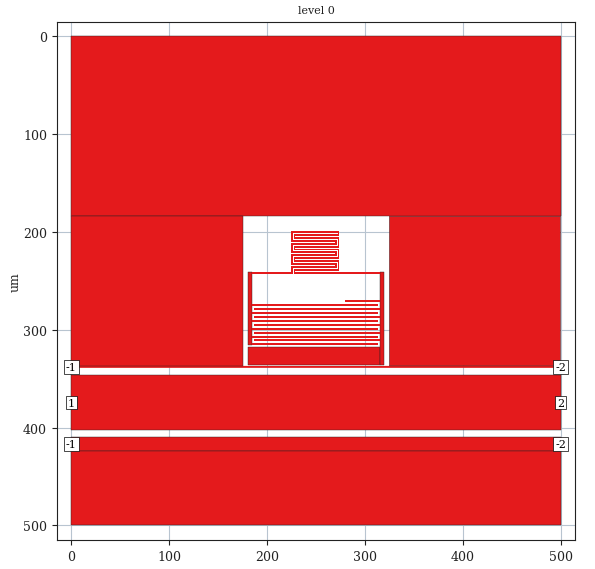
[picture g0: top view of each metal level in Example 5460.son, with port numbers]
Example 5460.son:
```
FTYP SONPROJ 15 ! Sonnet Project File
VER 16.52
HEADER
LIC dias60.1.44860 382c4a80b44d DESKTOP-VO1CH6G mario
DAT 03/21/2018 13:03:07
BUILT_BY_CREATED xgeom 13.52 04/05/2012 11:22:39
BUILT_BY_SAVED xgeom 16.52.1
MDATE 03/21/2018 12:58:39
HDATE 03/21/2018 12:57:15
END HEADER
DIM
FREQ GHZ
IND NH
LNG UM
ANG DEG
CON /OH
CAP PF
RES OH
END DIM
FREQ
SIMPLE 3.3644
ABS 5.459 5.461 
END FREQ
CONTROL
ABS
OPTIONS  -dj 
SPEED 2
CACHE_ABS 1
TARG_ABS 2000
Q_ACC Y
END CONTROL
GEO
TMET "Lossless" 0 SUP 0 0 0 0
BMET "Lossless" 0 SUP 0 0 0 0
MET "superconductor" 1 SUP 0 0 0 20
MET "Nb" 2 SUP 0 0 0 0.07
MET "thick Ta" 3 SUP 0 0 0 0.001
BOX 1 500 500 1000 1000 20 0
      200 1 1 0 0 0 0 "Unnamed"
      450 11.8 1 0 0 0 0 "Unnamed"
LORGN 0 500 U 
POR1 STD
POLY 12 1
3
1 50 0 0 0 1.116358908e-005 374.4999989 
POR1 STD
POLY 12 1
1
2 50 0 0 0 500.0000345 374.4999975 
POR1 STD
POLY 15 1
1
-2 50 0 0 0 499.9999636 417.000015 
POR1 STD
POLY 15 1
3
-1 50 0 0 0 -8.152564988e-007 417.0000161 
POR1 STD
POLY 19 1
1
-2 50 0 0 0 499.9999509 338.0000875 
POR1 STD
POLY 19 1
3
-1 50 0 0 0 -2.868846059e-005 337.9998969 
NUM 58
0 5 0 N 12 1 1 100 100 0 0 0 Y
1.115479972e-005 345.999978
500.0000345 345.9999768
500.0000345 403.0000183
1.117237844e-005 403.0000197
1.115479972e-005 345.999978
END
0 5 0 N 15 1 1 100 100 0 0 0 Y
-8.152564988e-007 410.0000121
499.9999636 410.0000111
499.9999636 424.0000188
-8.152564988e-007 424.0000202
-8.152564988e-007 410.0000121
END
0 5 0 N 18 1 1 100 100 0 0 0 Y
4.608694653e-006 424.0000181
500.0000085 424.0000171
500.0000085 499.9999898
4.608694653e-006 499.9999913
4.608694653e-006 424.0000181
END
0 5 0 N 19 1 1 100 100 0 0 0 Y
-2.868846059e-005 337.0000274
499.9999509 336.9999651
499.9999509 339.0002098
-2.868846059e-005 338.9997663
-2.868846059e-005 337.0000274
END
0 5 0 N 22 1 1 100 100 0 0 0 Y
-1.650184243e-005 4.362391337e-006
500.0000001 4.362391337e-006
500.0000001 184.0000077
-1.650184243e-005 184.0000077
-1.650184243e-005 4.362391337e-006
END
0 5 0 N 23 1 1 100 100 0 0 0 Y
-1.203088515e-005 184
175.0000064 184
175.0000064 337.0000065
-1.203088515e-005 337.0000065
-1.203088515e-005 184
END
0 5 0 N 24 1 1 100 100 0 0 0 Y
325.0000048 183.9999562
500.000029 184.000061
500.0000288 337
325.0000046 336.9999797
325.0000048 183.9999562
END
0 5 0 N 25 1 1 100 100 0 0 0 Y
180.0000163 241.0000318
184.9999788 241.0000318
184.9999788 316
180.0000163 316
180.0000163 241.0000318
END
0 5 0 N 26 1 1 100 100 0 0 0 Y
179.9999972 336.0000378
315.0000673 336.0000378
315.0000673 317.999995
179.9999972 317.999995
179.9999972 336.0000378
END
0 5 0 N 27 1 1 100 100 0 0 0 Y
314.9999689 241.0000318
320.0000272 241.0000318
320.0000272 335.9999892
314.9999689 335.9999892
314.9999689 241.0000318
END
0 5 0 N 28 1 1 100 100 0 0 0 Y
187.0000232 288.0000378
314.9999977 288.0000378
314.9999977 286.0000131
187.0000232 286.0000131
187.0000232 288.0000378
END
0 5 0 N 29 1 1 100 100 0 0 0 Y
184.9999908 284.0000378
312.999994 284.0000378
312.999994 282.0000131
184.9999908 282.0000131
184.9999908 284.0000378
END
0 5 0 N 30 1 1 100 100 0 0 0 Y
185.0000232 308.0000378
312.9999977 308.0000378
312.9999977 306.0000131
185.0000232 306.0000131
185.0000232 308.0000378
END
0 5 0 N 31 1 1 100 100 0 0 0 Y
185.0000232 316.0000378
312.9999977 316.0000378
312.9999977 314.0000131
185.0000232 314.0000131
185.0000232 316.0000378
END
0 5 0 N 32 1 1 100 100 0 0 0 Y
186.9999908 312.0000378
315.0000673 312.0000378
315.0000673 310.0000131
186.9999908 310.0000131
186.9999908 312.0000378
END
0 5 0 N 33 1 1 100 100 0 0 0 Y
184.9999708 241.0000318
226.0000001 241.0000318
226.0000001 242.999995
184.9999708 242.999995
184.9999708 241.0000318
END
0 5 0 N 34 1 1 100 100 0 0 0 Y
227.0000477 241
314.9999949 241
314.9999949 242.999995
227.0000477 242.999995
227.0000477 241
END
0 5 0 N 35 1 1 100 100 0 0 0 Y
186.9999908 304.0000378
314.9999504 304.0000378
314.9999504 302.0000131
186.9999908 302.0000131
186.9999908 304.0000378
END
0 5 0 N 36 1 1 100 100 0 0 0 Y
185.0000232 300.0000378
312.9999977 300.0000378
312.9999977 298.0000131
185.0000232 298.0000131
185.0000232 300.0000378
END
0 5 0 N 37 1 1 100 100 0 0 0 Y
186.9999908 296.0000378
314.9999504 296.0000378
314.9999504 294.0000131
186.9999908 294.0000131
186.9999908 296.0000378
END
0 5 0 N 38 1 1 100 100 0 0 0 Y
185.0000232 292.0000378
313.0000175 292.0000378
313.0000175 290.0000131
185.0000232 290.0000131
185.0000232 292.0000378
END
0 5 0 N 39 1 1 100 100 0 0 0 Y
224 238
226 238
226 241.0000318
224 241.0000318
224 238
END
0 5 0 N 40 1 1 100 100 0 0 0 Y
227.0000477 240
229 240
229 241
227.0000477 241
227.0000477 240
END
0 5 0 N 41 1 1 100 100 0 0 0 Y
227.0000477 238
229 238
229 240
227.0000477 240
227.0000477 238
END
0 5 0 N 42 1 1 100 100 0 0 0 Y
229 238
274.0000173 238
274.0000173 240
229 240
229 238
END
0 5 0 N 43 1 1 100 100 0 0 0 Y
224 235
226 235
226 238
224 238
224 235
END
0 5 0 N 44 1 1 100 100 0 0 0 Y
226 235
271 235
271 237
226 237
226 235
END
0 5 0 N 45 1 1 100 100 0 0 0 Y
272 232
274.0000173 232
274.0000173 238
272 238
272 232
END
0 5 0 N 46 1 1 100 100 0 0 0 Y
269 231.9999908
271 231.9999908
271 235
269 235
269 231.9999908
END
0 5 0 N 47 1 1 100 100 0 0 0 Y
228 231.9999908
269 231.9999908
269 233.9999995
228 233.9999995
228 231.9999908
END
0 5 0 N 48 1 1 100 100 0 0 0 Y
272 228.9999979
274.0000173 228.9999979
274.0000173 232
272 232
272 228.9999979
END
0 5 0 N 49 1 1 100 100 0 0 0 Y
224.0000075 231.9999908
228 231.9999908
228 233.9999995
224.0000075 233.9999995
224.0000075 231.9999908
END
0 5 0 N 50 1 1 100 100 0 0 0 Y
226.9999598 228.9999979
272 228.9999979
272 231.0000066
226.9999598 231.0000066
226.9999598 228.9999979
END
0 5 0 N 51 1 1 100 100 0 0 0 Y
224.0000075 222.999992
226 222.999992
226 231.9999908
224.0000075 231.9999908
224.0000075 222.999992
END
0 5 0 N 52 1 1 100 100 0 0 0 Y
226.9999598 226.000005
229.0000085 226.000005
229.0000085 228.9999979
226.9999598 228.9999979
226.9999598 226.000005
END
0 5 0 N 53 1 1 100 100 0 0 0 Y
229.0000085 226.000005
274.0000173 226.000005
274.0000173 227.9999936
229.0000085 227.9999936
229.0000085 226.000005
END
0 5 0 N 54 1 1 100 100 0 0 0 Y
225.9999757 222.999992
270.9999845 222.999992
270.9999845 225.0000007
225.9999757 225.0000007
225.9999757 222.999992
END
0 5 0 N 55 1 1 100 100 0 0 0 Y
272 217.0000063
274.0000173 217.0000063
274.0000173 226
272 226
272 217.0000063
END
0 5 0 N 56 1 1 100 100 0 0 0 Y
269.0000163 219.9999991
270.9999845 219.9999991
270.9999845 223
269.0000163 223
269.0000163 219.9999991
END
0 5 0 N 57 1 1 100 100 0 0 0 Y
224.0000075 220.0000063
269.0000163 220.0000063
269.0000163 222
224.0000075 222
224.0000075 220.0000063
END
0 5 0 N 58 1 1 100 100 0 0 0 Y
226.9999598 217
271.9999686 217
271.9999686 219
226.9999598 219
226.9999598 217
END
0 5 0 N 59 1 1 100 100 0 0 0 Y
226.9999598 214.0000091
274.0000173 214.0000091
274.0000173 216
226.9999598 216
226.9999598 214.0000091
END
0 5 0 N 60 1 1 100 100 0 0 0 Y
224.0000075 214.0000091
226 214.0000091
226 220.0000063
224.0000075 220.0000063
224.0000075 214.0000091
END
0 5 0 N 61 1 1 100 100 0 0 0 Y
226.9999598 216
229 216
229 217
226.9999598 217
226.9999598 216
END
0 5 0 N 62 1 1 100 100 0 0 0 Y
224.0000075 211
226 211
226 214.0000091
224.0000075 214.0000091
224.0000075 211
END
0 5 0 N 63 1 1 100 100 0 0 0 Y
226 211
270.9999845 211
270.9999845 213
226 213
226 211
END
0 5 0 N 64 1 1 100 100 0 0 0 Y
225.9999598 208
271 208
271 210
225.9999598 210
225.9999598 208
END
0 5 0 N 65 1 1 100 100 0 0 0 Y
269 210
270.9999845 210
270.9999845 211
269 211
269 210
END
0 5 0 N 66 1 1 100 100 0 0 0 Y
272 205
274 205
274 214.0000091
272 214.0000091
272 205
END
0 5 0 N 67 1 1 100 100 0 0 0 Y
226.9999598 205
272 205
272 207
226.9999598 207
226.9999598 205
END
0 5 0 N 68 1 1 100 100 0 0 0 Y
224 199.0000087
225.9999598 199.0000087
225.9999598 210
224 210
224 199.0000087
END
0 5 0 N 69 1 1 100 100 0 0 0 Y
227.0000244 202.0000016
229 202.0000016
229 205
227.0000244 205
227.0000244 202.0000016
END
0 5 0 N 70 1 1 100 100 0 0 0 Y
229.0000085 202.0000016
274 202.0000016
274 204
229.0000085 204
229.0000085 202.0000016
END
0 5 0 N 71 1 1 100 100 0 0 0 Y
225.9999598 199.0000087
271.9999921 199.0000087
271.9999921 201
225.9999598 201
225.9999598 199.0000087
END
0 5 0 N 72 1 1 100 100 0 0 0 Y
272 199.0000024
274 199.0000024
274 202.0000016
272 202.0000016
272 199.0000024
END
0 5 0 N 73 1 1 100 100 0 0 0 Y
186.9999908 280.0000378
314.999994 280.0000378
314.999994 278.0000131
186.9999908 278.0000131
186.9999908 280.0000378
END
0 5 0 N 74 1 1 100 100 0 0 0 Y
184.9999908 276.0000378
313.0000037 276.0000378
313.0000037 274.0000131
184.9999908 274.0000131
184.9999908 276.0000378
END
0 5 0 N 80 1 1 100 100 0 0 0 Y
279.9999997 272.0000378
315.0000037 272.0000378
315.0000037 270.0000131
279.9999997 270.0000131
279.9999997 272.0000378
END
END GEO
OPT
MAX 100
VARS
END
END OPT
VARSWP
END VARSWP
FILEOUT
END FILEOUT
QSG
IMPORT NO
EXTRA_METAL NO
UNITS YES
ALIGN NO
REF NO
VIEW_RES YES
METALS YES
USED YES
END QSG
TRANSLATOR
GDSEXPORT
UseTLs TRUE
SepObj FALSE
SepMat TRUE
DivideMulti FALSE
Circles FALSE
CircleType inscribed
CircleSize 0
KeepMetals TRUE
KeepVias FALSE
KeepViaPads FALSE
KeepBricks TRUE
KeepEdgeVias FALSE
KeepParent FALSE
ConvertParent FALSE
AllEdgeViasAsVia FALSE
END
END TRANSLATOR
```
